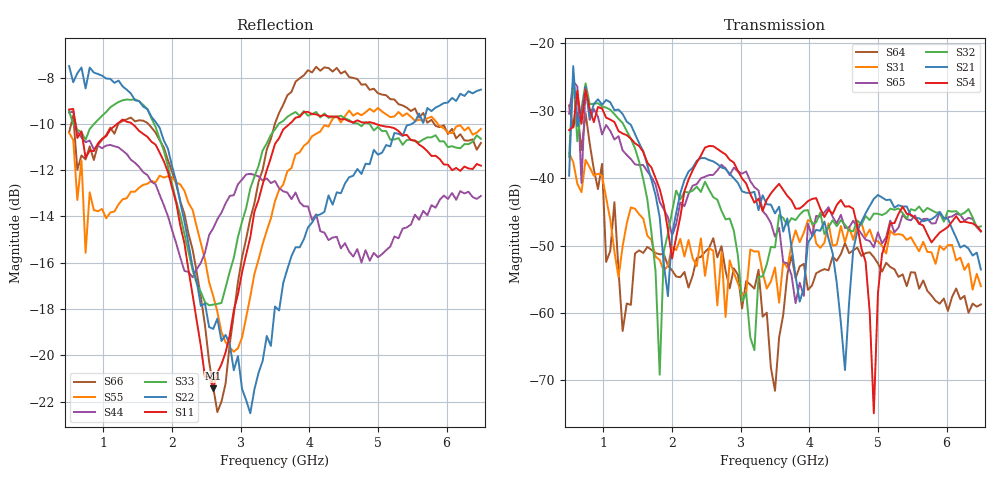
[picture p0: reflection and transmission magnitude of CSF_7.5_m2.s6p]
!Keysight Technologies,M9804A,MY58100912,A.14.10.03
!Date: Thursday, April 27, 2023 10:28:33
!Correction: S11(C  6-Port  )
!S12(C  6-Port  )
!S13(C  6-Port  )
!S14(C  6-Port  )
!S15(C  6-Port  )
!S16(C  6-Port  )
!S21(C  6-Port  )
!S22(C  6-Port  )
!S23(C  6-Port  )
!S24(C  6-Port  )
!S25(C  6-Port  )
!S26(C  6-Port  )
!S31(C  6-Port  )
!S32(C  6-Port  )
!S33(C  6-Port  )
!S34(C  6-Port  )
!S35(C  6-Port  )
!S36(C  6-Port  )
!S41(C  6-Port  )
!S42(C  6-Port  )
!S43(C  6-Port  )
!S44(C  6-Port  )
!S45(C  6-Port  )
!S46(C  6-Port  )
!S51(C  6-Port  )
!S52(C  6-Port  )
!S53(C  6-Port  )
!S54(C  6-Port  )
!S55(C  6-Port  )
!S56(C  6-Port  )
!S61(C  6-Port  )
!S62(C  6-Port  )
!S63(C  6-Port  )
!S64(C  6-Port  )
!S65(C  6-Port  )
!S66(C  6-Port  )
!S6P File: Measurement: :
# Hz S  RI  R 50
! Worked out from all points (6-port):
!   101 points, 500 MHz to 6.5 GHz, reference 50 ohm
!   strongest paths, dB at 500 MHz, 2 GHz, 3.5 GHz, 5 GHz, 6.5 GHz:
!     S54: -32.9, -51.9, -41.5, -57.0, -47.8
!     S21: -39.7, -48.4, -45.2, -42.5, -53.6
!     S32: -36.9, -45.0, -50.3, -45.3, -47.2
!     S65: -30.5, -48.5, -48.7, -48.0, -47.9
!     S31: -36.3, -50.2, -53.3, -49.4, -56.0
!     S64: -29.2, -53.7, -71.5, -52.7, -58.7
!   lowest |S11| = -21.4 dB at 2.6 GHz (marker M1), VSWR 1.19, Z = 42.5 + j2.16 ohm
!   |S11| at or under -10 dB: 591 MHz to 1.199 GHz (608.5 MHz wide, 68 % of centre); 1.421 GHz to 3.712 GHz (2.291 GHz wide, 89.3 % of centre); 4.971 GHz to end of sweep
